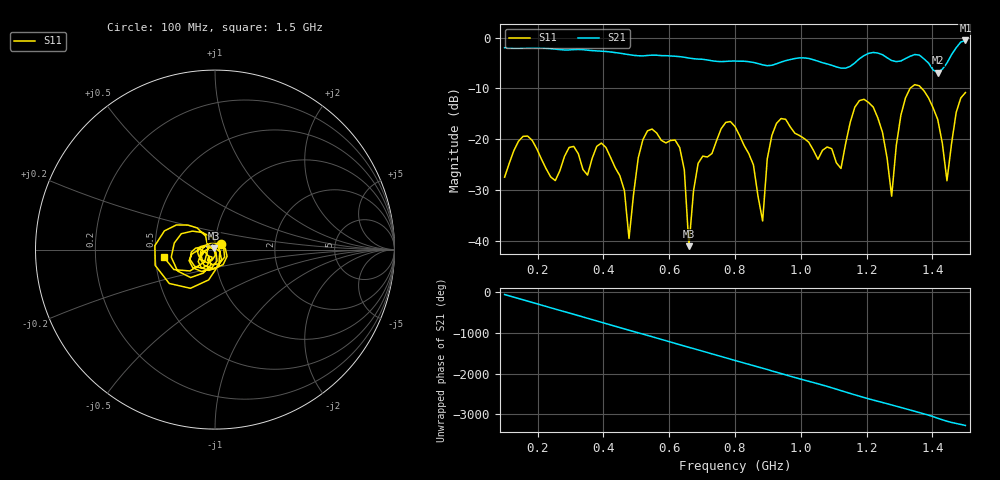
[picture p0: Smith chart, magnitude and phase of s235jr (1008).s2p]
! NanoVNA-App
! Date: 2025-09-25 15:12:01
! Start: 100MHz Stop: 1,5GHz Points: 101
! S-Parameter data: F S11 S21 S12 S22
# Hz S RI R 50
!  Frequency  S11_Real  S11_Imag  S21_Real  S21_Imag  S12_Real  S12_Imag  S22_Real  S22_Imag
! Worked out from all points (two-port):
!   101 points, 100 MHz to 1.5 GHz, reference 50 ohm
!   highest |S21| = -0.55 dB at 1.5 GHz (marker M1); lowest = -6.9 dB at 1.416 GHz (marker M2)
!   |S21| within 3 dB of the highest: start of sweep to 504.6 MHz; 526.7 MHz to 591.9 MHz (65.29 MHz wide, 11.7 % of centre) (the widest 2 of 5)
!   lowest |S11| = -41.1 dB at 660 MHz (marker M3), VSWR 1.02, Z = 49.4 + j0.616 ohm
!   |S11| at or under -10 dB: start of sweep to 1.332 GHz; 1.368 GHz to end of sweep
!   S12 and S22 are empty: the file has one direction only
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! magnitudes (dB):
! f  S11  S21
! 100 MHz  -27.5  -2.0
! 156 MHz  -19.4  -2.1
! 338 MHz  -26.0  -2.4
! 408 MHz  -21.6  -2.7
! 478 MHz  -39.5  -3.3
! 520 MHz  -20.1  -3.6
! 576 MHz  -20.2  -3.5
! 632 MHz  -21.7  -3.7
! 660 MHz  -41.1  -4.0
! 688 MHz  -24.7  -4.2
! 800 MHz  -17.5  -4.6
! 884 MHz  -36.1  -5.4
! 926 MHz  -16.9  -5.1
! 1.038 GHz  -22.1  -4.3
! 1.122 GHz  -25.8  -6.0
! 1.192 GHz  -12.1  -3.5
! 1.248 GHz  -18.6  -3.4
! 1.276 GHz  -31.2  -4.5
! 1.332 GHz  -10.0  -3.7
! 1.416 GHz  -16.1  -6.9
! 1.444 GHz  -28.2  -5.0
! 1.5 GHz  -10.8  -0.5
